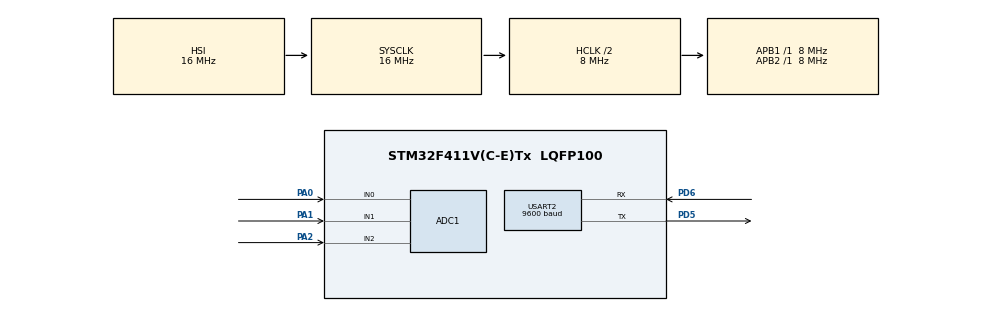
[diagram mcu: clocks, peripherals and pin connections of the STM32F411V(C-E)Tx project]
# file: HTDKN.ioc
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ADC1.Channel-2\#ChannelRegularConversion=ADC_CHANNEL_0
ADC1.Channel-3\#ChannelRegularConversion=ADC_CHANNEL_1
ADC1.Channel-4\#ChannelRegularConversion=ADC_CHANNEL_2
ADC1.ContinuousConvMode=ENABLE
ADC1.DMAContinuousRequests=DISABLE
ADC1.DiscontinuousConvMode=DISABLE
ADC1.NbrOfConversion=3
ADC1.NbrOfConversionFlag=1
ADC1.Rank-2\#ChannelRegularConversion=1
ADC1.Rank-3\#ChannelRegularConversion=2
ADC1.Rank-4\#ChannelRegularConversion=3
ADC1.SamplingTime-2\#ChannelRegularConversion=ADC_SAMPLETIME_15CYCLES
ADC1.SamplingTime-3\#ChannelRegularConversion=ADC_SAMPLETIME_15CYCLES
ADC1.SamplingTime-4\#ChannelRegularConversion=ADC_SAMPLETIME_15CYCLES
ADC1.master=1
Dma.ADC1.2.Direction=DMA_PERIPH_TO_MEMORY
Dma.ADC1.2.FIFOMode=DMA_FIFOMODE_DISABLE
Dma.ADC1.2.Instance=DMA2_Stream0
Dma.ADC1.2.MemDataAlignment=DMA_MDATAALIGN_HALFWORD
Dma.ADC1.2.MemInc=DMA_MINC_ENABLE
Dma.ADC1.2.Mode=DMA_CIRCULAR
Dma.ADC1.2.PeriphDataAlignment=DMA_PDATAALIGN_HALFWORD
Dma.ADC1.2.PeriphInc=DMA_PINC_DISABLE
Dma.ADC1.2.Priority=DMA_PRIORITY_LOW
Dma.Request0=USART2_RX
Dma.Request1=USART2_TX
Dma.Request2=ADC1
Dma.USART2_RX.0.Direction=DMA_PERIPH_TO_MEMORY
Dma.USART2_RX.0.FIFOMode=DMA_FIFOMODE_DISABLE
Dma.USART2_RX.0.Instance=DMA1_Stream5
Dma.USART2_RX.0.MemDataAlignment=DMA_MDATAALIGN_BYTE
Dma.USART2_RX.0.MemInc=DMA_MINC_ENABLE
Dma.USART2_RX.0.Mode=DMA_NORMAL
Dma.USART2_RX.0.PeriphDataAlignment=DMA_PDATAALIGN_BYTE
Dma.USART2_RX.0.PeriphInc=DMA_PINC_DISABLE
Dma.USART2_RX.0.Priority=DMA_PRIORITY_LOW
Dma.USART2_TX.1.Direction=DMA_MEMORY_TO_PERIPH
Dma.USART2_TX.1.FIFOMode=DMA_FIFOMODE_DISABLE
Dma.USART2_TX.1.Instance=DMA1_Stream6
Dma.USART2_TX.1.MemDataAlignment=DMA_MDATAALIGN_BYTE
Dma.USART2_TX.1.MemInc=DMA_MINC_ENABLE
Dma.USART2_TX.1.Mode=DMA_NORMAL
Dma.USART2_TX.1.PeriphDataAlignment=DMA_PDATAALIGN_BYTE
Dma.USART2_TX.1.PeriphInc=DMA_PINC_DISABLE
Dma.USART2_TX.1.Priority=DMA_PRIORITY_LOW
Mcu.Family=STM32F4
Mcu.Name=STM32F411V(C-E)Tx
Mcu.Package=LQFP100
NVIC.ADC_IRQn=true\:0\:0\:false\:false\:true\:true\:true\:true
NVIC.DMA1_Stream5_IRQn=true\:0\:0\:false\:false\:true\:false\:true\:true
NVIC.DMA1_Stream6_IRQn=true\:0\:0\:false\:false\:true\:false\:true\:true
NVIC.DMA2_Stream0_IRQn=true\:0\:0\:false\:false\:true\:false\:true\:true
NVIC.PriorityGroup=NVIC_PRIORITYGROUP_4
NVIC.TIM2_IRQn=true\:0\:0\:false\:false\:true\:true\:true\:true
NVIC.USART2_IRQn=true\:1\:0\:true\:false\:true\:true\:true\:true
PA0-WKUP.Signal=ADCx_IN0
PA1.Signal=ADCx_IN1
PA13.Mode=Serial_Wire
PA13.Signal=SYS_JTMS-SWDIO
PA14.Mode=Serial_Wire
PA14.Signal=SYS_JTCK-SWCLK
PA2.Signal=ADCx_IN2
PD5.Mode=Asynchronous
PD5.Signal=USART2_TX
PD6.Mode=Asynchronous
PD6.Signal=USART2_RX
ProjectManager.HeapSize=0x200
ProjectManager.StackSize=0x400
ProjectManager.TargetToolchain=STM32CubeIDE
RCC.AHBCLKDivider=RCC_SYSCLK_DIV2
RCC.AHBFreq_Value=8000000
RCC.APB1Freq_Value=8000000
RCC.APB1TimFreq_Value=8000000
RCC.APB2Freq_Value=8000000
RCC.APB2TimFreq_Value=8000000
RCC.CortexFreq_Value=8000000
RCC.HCLKFreq_Value=8000000
RCC.HSE_VALUE=25000000
RCC.HSI_VALUE=16000000
RCC.LSE_VALUE=32768
RCC.SYSCLKFreq_VALUE=16000000
RCC.VCOOutputFreq_Value=192000000
SH.ADCx_IN0.0=ADC1_IN0,IN0
SH.ADCx_IN1.0=ADC1_IN1,IN1
SH.ADCx_IN2.0=ADC1_IN2,IN2
TIM2.Period=499
TIM2.Prescaler=79
USART2.BaudRate=9600
USART2.OverSampling=UART_OVERSAMPLING_8
USART2.VirtualMode=VM_ASYNC
VP_TIM2_VS_ClockSourceINT.Mode=Internal
board=custom

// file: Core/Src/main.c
/* USER CODE BEGIN Header */
/**
  ******************************************************************************
  * @file           : main.c
  * @brief          : Main program body
  ******************************************************************************
  * @attention
  *
  * Copyright (c) 2025 STMicroelectronics.
  * All rights reserved.
  *
  * This software is licensed under terms that can be found in the LICENSE file
  * in the root directory of this software component.
  * If no LICENSE file comes with this software, it is provided AS-IS.
  *
  ******************************************************************************
  */
/* USER CODE END Header */
#include "main.h"

/* USER CODE BEGIN Includes */
#include "Frame.h"
#include <math.h>
#include <stdlib.h>
#include <string.h>
#include <math.h>
/* USER CODE END Includes */

ADC_HandleTypeDef hadc1;
DMA_HandleTypeDef hdma_adc1;

TIM_HandleTypeDef htim2;

UART_HandleTypeDef huart2;
DMA_HandleTypeDef hdma_usart2_rx;
DMA_HandleTypeDef hdma_usart2_tx;

void SystemClock_Config(void);
static void MX_GPIO_Init(void);
static void MX_DMA_Init(void);
static void MX_ADC1_Init(void);
static void MX_TIM2_Init(void);
static void MX_USART2_UART_Init(void);

/* USER CODE BEGIN 0 */
frame_t transmit;
uint8_t RX_data[20];
uint8_t tran_data[5010];
uint16_t frameSize = 0;
uint8_t is_transmitting = 0;
uint8_t flag_rx = 0;
uint16_t sample_number = 0;
uint8_t flag_ADC = 0, flag_0x20 = 0, flag_0x21 = 0, flag_0x22 = 0;
uint32_t save_adc[5000] = {0};
uint32_t adcBuffer[3] = {0};
uint32_t sample_time = 5000;
uint8_t sample_count = 0;
uint8_t sample = 0;
uint8_t flag_0x20_1 = 0;
//void SendADCValue(frame_t *trans) { // mo phong dang song ADC, sua cai nay
//    trans->payload = calloc(trans->length, sizeof(uint8_t));
//    if (trans->payload == NULL) return;
//
//    for (uint16_t i = 0; i < trans->length/4; i++) {
//        float adc_value = get_ADC(i,trans->length/4); // Giả định hàm do đồng nghiệp bạn cung cấp
//        memcpy(&trans->payload[i * 4], &adc_value, 4); // Sao chép 4 byte của float
//    }
//}

void HAL_TIM_PeriodElapsedCallback(TIM_HandleTypeDef *htim){
	if (htim == &htim2 && is_transmitting == 0) {
		is_transmitting = 1;  // Đánh dấu đang truyền
		HAL_UART_Transmit_DMA(&huart2, tran_data,transmit.length + 7);
	}
}
void HAL_UARTEx_RxEventCallback(UART_HandleTypeDef *huart, uint16_t Size){
	if (huart != &huart2) return;
	if (Size < 7) {
		// re‑arm DMA và exit
		HAL_UARTEx_ReceiveToIdle_DMA(huart, RX_data, sizeof(RX_data));
		return;
	}
	flag_rx = 1;
	HAL_UARTEx_ReceiveToIdle_DMA(&huart2, RX_data, 100);

	// fucntion day la ky tu
	// ky a=> channel
	// ky tu b=> channel 2
//	uint32_t rx_data = 0;
//	rx_data = atoi((char*)RX_data); // string => int /r/n = 4 sample
//	transmit.length = floorf(5000/rx_data)*4; // so mau can lay
//	SendADCValue(&transmit); // sua cai nay
//	frameSize = 7 + transmit.length*4; //
//	tran_data = calloc(frameSize,sizeof(uint8_t));
//	packframe(tran_data, &transmit, 0x20);
//	HAL_TIM_Base_Start_IT(&htim2);
//	HAL_UARTEx_ReceiveToIdle_DMA(&huart2, RX_data, 11);
}
void HAL_UART_TxCpltCallback(UART_HandleTypeDef *huart) {
    if (huart == &huart2) {
        is_transmitting = 0;
    }
}
void HAL_ADC_ConvCpltCallback(ADC_HandleTypeDef* hadc){
	if(hadc == &hadc1){
		flag_ADC = 1;
	}
}

float temp1 = 0;

/* USER CODE END 0 */

int main(void)
{

  /* MCU Configuration--------------------------------------------------------*/

  /* Reset of all peripherals, Initializes the Flash interface and the Systick. */
 HAL_Init();

  /* Configure the system clock */
  SystemClock_Config();

  /* Initialize all configured peripherals */
  MX_GPIO_Init();
  MX_DMA_Init();
  MX_ADC1_Init();
  MX_TIM2_Init();
  MX_USART2_UART_Init();
  /* USER CODE BEGIN 2 */
  HAL_UARTEx_ReceiveToIdle_DMA(&huart2, RX_data, 20);
  HAL_ADC_Start_DMA(&hadc1,adcBuffer,1);

  static uint8_t temp_payload[4] = {0};
  /* USER CODE END 2 */

  /* Infinite loop */
  /* USER CODE BEGIN WHILE */
  while (1)
  {
	  HAL_ADC_Start_DMA(&hadc1,adcBuffer,1);
	  if(flag_rx){
		  Decode_frame(RX_data, &transmit);
		  switch(transmit.command){
		  case 0x10:
			  Decode_Payload_0x10(&transmit,&sample_time);
			  sample_number = ceil(5000.0f/sample_time);
			  sample_count = 0;
			  break;
		  case 0x20:
			  for(uint32_t i = 0; i < sample_number; i++){
				  FloatToBytes(save_adc[i], temp_payload);
				  temp1 = save_adc[i]*3.3/4095;
				  memcpy(&transmit.payload[i + 4],temp_payload,4);
			  }
			  transmit.length = sample_number * 4;
			  packframe(tran_data, &transmit, 0x20);
			  flag_0x20 = 1 ;
			  flag_0x20_1 = 1;
			  break;
		  case 0x21:
			  flag_0x21 = 1;
			  for(uint32_t i = 0; i < transmit.length; i++){
				  FloatToBytes(save_adc[i],temp_payload);
				  memcpy(&transmit.payload[i + 4],temp_payload,4);
			  }
			  packframe(tran_data, &transmit, 0x20);

			  break;
		  case 0x22:
			  for(uint32_t i = 0; i < transmit.length; i++){
				  FloatToBytes(save_adc[i], temp_payload);
				  memcpy(&transmit.payload[i + 4],temp_payload,4);
			  }
			  packframe(tran_data, &transmit, 0x20);

			  break;
		  case 0x30:
			  HAL_TIM_Base_Stop_IT(&htim2);
			  flag_0x20 = 0;
			  flag_0x20_1 = 0;
			  break;
		  case 0x40:
			  HAL_TIM_Base_Start_IT(&htim2);		  }
		  flag_rx = 0;

	  }
	  if(flag_ADC == 1){
		  save_adc[sample_count++] = adcBuffer[0];
		  if(sample_count >= sample_number && flag_0x20 == 1){
			  sample_count = 0;
			  HAL_TIM_Base_Start_IT(&htim2);
			  flag_0x20 = 0;
		  }
		  flag_ADC = 0;
	  }
	  if(flag_0x20_1){
		  for(uint32_t i = 0; i < sample_number; i++){
		  				  FloatToBytes(save_adc[i], temp_payload);
		  				  temp1 = save_adc[i]*3.3/4095;
		  				  memcpy(&transmit.payload[i + 4],temp_payload,4);
		  			  }
		  			  transmit.length = sample_number * 4;
		  			  packframe(tran_data, &transmit, 0x20);
	  }

    /* USER CODE END WHILE */

  }
}

void SystemClock_Config(void)
{
  RCC_OscInitTypeDef RCC_OscInitStruct = {0};
  RCC_ClkInitTypeDef RCC_ClkInitStruct = {0};

  /** Configure the main internal regulator output voltage
  */
  __HAL_RCC_PWR_CLK_ENABLE();
  __HAL_PWR_VOLTAGESCALING_CONFIG(PWR_REGULATOR_VOLTAGE_SCALE1);

  /** Initializes the RCC Oscillators according to the specified parameters
  * in the RCC_OscInitTypeDef structure.
  */
  RCC_OscInitStruct.OscillatorType = RCC_OSCILLATORTYPE_HSI;
  RCC_OscInitStruct.HSIState = RCC_HSI_ON;
  RCC_OscInitStruct.HSICalibrationValue = RCC_HSICALIBRATION_DEFAULT;
  RCC_OscInitStruct.PLL.PLLState = RCC_PLL_NONE;
  if (HAL_RCC_OscConfig(&RCC_OscInitStruct) != HAL_OK)
  {
    Error_Handler();
  }

  /** Initializes the CPU, AHB and APB buses clocks
  */
  RCC_ClkInitStruct.ClockType = RCC_CLOCKTYPE_HCLK|RCC_CLOCKTYPE_SYSCLK
                              |RCC_CLOCKTYPE_PCLK1|RCC_CLOCKTYPE_PCLK2;
  RCC_ClkInitStruct.SYSCLKSource = RCC_SYSCLKSOURCE_HSI;
  RCC_ClkInitStruct.AHBCLKDivider = RCC_SYSCLK_DIV2;
  RCC_ClkInitStruct.APB1CLKDivider = RCC_HCLK_DIV1;
  RCC_ClkInitStruct.APB2CLKDivider = RCC_HCLK_DIV1;

  if (HAL_RCC_ClockConfig(&RCC_ClkInitStruct, FLASH_LATENCY_0) != HAL_OK)
  {
    Error_Handler();
  }
}

static void MX_ADC1_Init(void)
{

  ADC_ChannelConfTypeDef sConfig = {0};

  /** Configure the global features of the ADC (Clock, Resolution, Data Alignment and number of conversion)
  */
  hadc1.Instance = ADC1;
  hadc1.Init.ClockPrescaler = ADC_CLOCK_SYNC_PCLK_DIV2;
  hadc1.Init.Resolution = ADC_RESOLUTION_12B;
  hadc1.Init.ScanConvMode = ENABLE;
  hadc1.Init.ContinuousConvMode = ENABLE;
  hadc1.Init.DiscontinuousConvMode = DISABLE;
  hadc1.Init.ExternalTrigConvEdge = ADC_EXTERNALTRIGCONVEDGE_NONE;
  hadc1.Init.ExternalTrigConv = ADC_SOFTWARE_START;
  hadc1.Init.DataAlign = ADC_DATAALIGN_RIGHT;
  hadc1.Init.NbrOfConversion = 3;
  hadc1.Init.DMAContinuousRequests = DISABLE;
  hadc1.Init.EOCSelection = ADC_EOC_SINGLE_CONV;
  if (HAL_ADC_Init(&hadc1) != HAL_OK)
  {
    Error_Handler();
  }

  /** Configure for the selected ADC regular channel its corresponding rank in the sequencer and its sample time.
  */
  sConfig.Channel = ADC_CHANNEL_0;
  sConfig.Rank = 1;
  sConfig.SamplingTime = ADC_SAMPLETIME_15CYCLES;
  if (HAL_ADC_ConfigChannel(&hadc1, &sConfig) != HAL_OK)
  {
    Error_Handler();
  }

  /** Configure for the selected ADC regular channel its corresponding rank in the sequencer and its sample time.
  */
  sConfig.Channel = ADC_CHANNEL_1;
  sConfig.Rank = 2;
  if (HAL_ADC_ConfigChannel(&hadc1, &sConfig) != HAL_OK)
  {
    Error_Handler();
  }

  /** Configure for the selected ADC regular channel its corresponding rank in the sequencer and its sample time.
  */
  sConfig.Channel = ADC_CHANNEL_2;
  sConfig.Rank = 3;
  if (HAL_ADC_ConfigChannel(&hadc1, &sConfig) != HAL_OK)
  {
    Error_Handler();
  }

}

static void MX_TIM2_Init(void)
{

  TIM_ClockConfigTypeDef sClockSourceConfig = {0};
  TIM_MasterConfigTypeDef sMasterConfig = {0};

  htim2.Instance = TIM2;
  htim2.Init.Prescaler = 79;
  htim2.Init.CounterMode = TIM_COUNTERMODE_UP;
  htim2.Init.Period = 499;
  htim2.Init.ClockDivision = TIM_CLOCKDIVISION_DIV1;
  htim2.Init.AutoReloadPreload = TIM_AUTORELOAD_PRELOAD_DISABLE;
  if (HAL_TIM_Base_Init(&htim2) != HAL_OK)
  {
    Error_Handler();
  }
  sClockSourceConfig.ClockSource = TIM_CLOCKSOURCE_INTERNAL;
  if (HAL_TIM_ConfigClockSource(&htim2, &sClockSourceConfig) != HAL_OK)
  {
    Error_Handler();
  }
  sMasterConfig.MasterOutputTrigger = TIM_TRGO_RESET;
  sMasterConfig.MasterSlaveMode = TIM_MASTERSLAVEMODE_DISABLE;
  if (HAL_TIMEx_MasterConfigSynchronization(&htim2, &sMasterConfig) != HAL_OK)
  {
    Error_Handler();
  }

}

static void MX_USART2_UART_Init(void)
{

  huart2.Instance = USART2;
  huart2.Init.BaudRate = 9600;
  huart2.Init.WordLength = UART_WORDLENGTH_8B;
  huart2.Init.StopBits = UART_STOPBITS_1;
  huart2.Init.Parity = UART_PARITY_NONE;
  huart2.Init.Mode = UART_MODE_TX_RX;
  huart2.Init.HwFlowCtl = UART_HWCONTROL_NONE;
  huart2.Init.OverSampling = UART_OVERSAMPLING_8;
  if (HAL_UART_Init(&huart2) != HAL_OK)
  {
    Error_Handler();
  }

}

static void MX_DMA_Init(void)
{

  /* DMA controller clock enable */
  __HAL_RCC_DMA1_CLK_ENABLE();
  __HAL_RCC_DMA2_CLK_ENABLE();

  /* DMA interrupt init */
  /* DMA1_Stream5_IRQn interrupt configuration */
  HAL_NVIC_SetPriority(DMA1_Stream5_IRQn, 0, 0);
  HAL_NVIC_EnableIRQ(DMA1_Stream5_IRQn);
  /* DMA1_Stream6_IRQn interrupt configuration */
  HAL_NVIC_SetPriority(DMA1_Stream6_IRQn, 0, 0);
  HAL_NVIC_EnableIRQ(DMA1_Stream6_IRQn);
  /* DMA2_Stream0_IRQn interrupt configuration */
  HAL_NVIC_SetPriority(DMA2_Stream0_IRQn, 0, 0);
  HAL_NVIC_EnableIRQ(DMA2_Stream0_IRQn);

}

static void MX_GPIO_Init(void)
{

  /* GPIO Ports Clock Enable */
  __HAL_RCC_GPIOA_CLK_ENABLE();
  __HAL_RCC_GPIOD_CLK_ENABLE();

}

void Error_Handler(void)
{
  __disable_irq();
  while (1)
  {
  }
}
